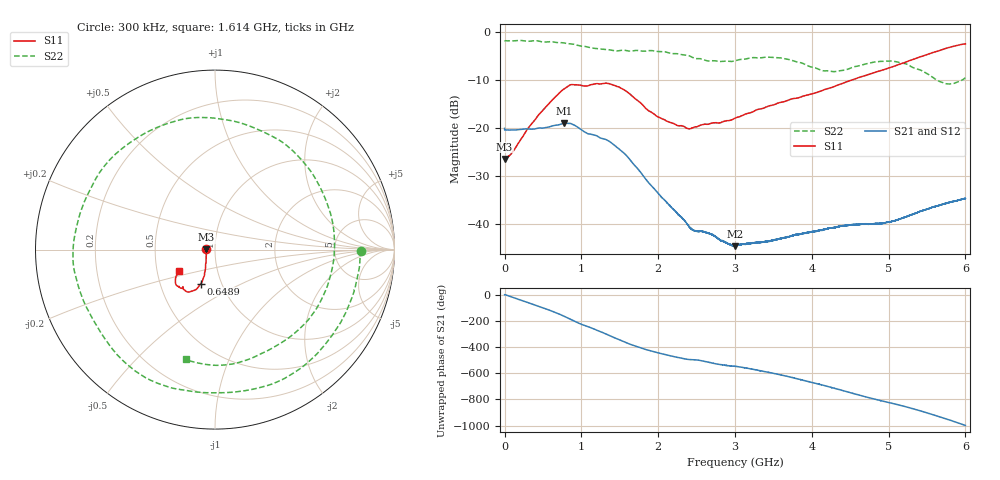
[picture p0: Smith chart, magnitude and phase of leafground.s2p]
!  8/6/2020  02:09:29
! Ref Plane: 0.000 mm
# MHZ S MA R  50
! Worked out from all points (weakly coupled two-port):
!   10001 points, 300 kHz to 6 GHz, reference 50 ohm
!   highest |S21| = -19.04 dB at 773.7 MHz (marker M1); lowest = -44.6 dB at 3 GHz (marker M2)
!   lowest |S11| = -26.5 dB at 300 kHz (marker M3), VSWR 1.10, Z = 45.5 + j0.0724 ohm
!   |S11| at or under -10 dB: start of sweep to 4.523 GHz
!   |S22| runs from -10.8 to -1.8 dB; largest |S21 - S12| = 0.0024
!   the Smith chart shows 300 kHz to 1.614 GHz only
!   S11 on the Smith chart (normalised r, x): 300 kHz: 0.91, +0.00; 648.9 MHz: 0.80, -0.32; 1.614 GHz: 0.65, -0.17
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0.3  0.04739 179.0  0.09894 -1.0  0.09654 -0.8  0.8151 -0.4
315.2843  0.1016 -121.0  0.0974 -64.2  0.09761 -64.3  0.7989 -94.0
648.8676  0.2057 -112.6  0.1062 -134.1  0.1062 -134.3  0.783 172.2
773.6613  0.2546 -116.9  0.1117 -165.3  0.1117 -165.3  0.7684 136.1
1000.45  0.2769 -130.5  0.09566 132.8  0.09567 132.8  0.7118 71.0
1276.436  0.2895 -134.8  0.0773 70.4  0.07738 70.3  0.6611 -9.3
1614.219  0.2316 -148.9  0.04863 -14.2  0.04874 -14.2  0.6338 -105.0
2000.6  0.1301 -134.5  0.02079 -84.9  0.02079 -85.0  0.6257 153.1
2260.387  0.1055 -111.9  0.01253 -120.0  0.01254 -120.1  0.5906 85.5
2541.173  0.106 -81.9  0.008344 -141.7  0.008436 -142.0  0.5272 6.4
2779.961  0.1126 -65.0  0.007034 -171.2  0.007045 -171.4  0.4948 -66.5
3000.15  0.1264 -47.9  0.005863 172.8  0.005921 173.0  0.501 -133.7
3231.738  0.1473 -35.6  0.00639 150.2  0.006301 150.0  0.5404 163.9
3514.324  0.1752 -22.9  0.006784 117.3  0.006757 117.3  0.5424 94.5
3783.111  0.2034 -12.4  0.00774 81.4  0.0077 81.3  0.4935 28.9
4000.3  0.2264 -4.2  0.008267 49.6  0.008291 49.5  0.4306 -31.4
4225.289  0.2592 4.6  0.009011 16.7  0.009054 16.0  0.3924 -102.3
4492.275  0.3104 11.8  0.009723 -26.7  0.009753 -26.8  0.416 173.1
4759.862  0.3654 16.9  0.009966 -68.9  0.01002 -68.9  0.4762 103.2
5000.45  0.4209 21.4  0.01046 -103.3  0.01044 -103.2  0.497 47.2
5510.425  0.5849 23.9  0.01433 176.1  0.01434 175.9  0.3643 -75.5
6000  0.7512 12.1  0.01839 82.0  0.01848 82.2  0.3329 116.3
